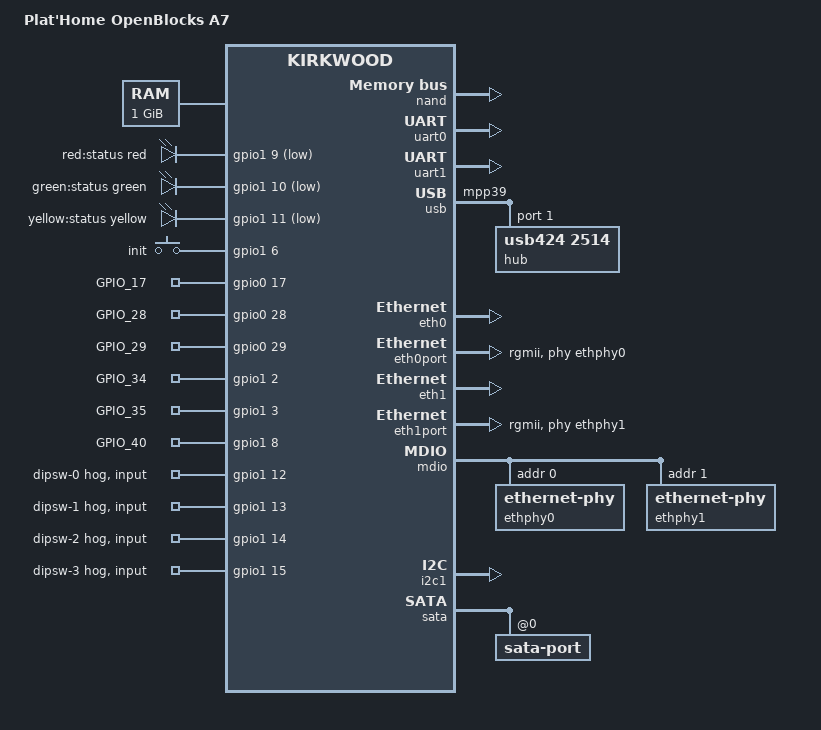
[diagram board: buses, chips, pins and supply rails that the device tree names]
// SPDX-License-Identifier: GPL-2.0-or-later OR MIT

/dts-v1/;

#include "kirkwood.dtsi"
#include "kirkwood-6282.dtsi"

#include <dt-bindings/leds/common.h>

/ {
	model = "Plat'Home OpenBlocks A7";
	compatible = "plathome,obsa7p", "marvell,kirkwood-88f6283", "marvell,kirkwood";

	memory@0 {
		device_type = "memory";
		reg = <0x00000000 0x40000000>;
	};

	aliases {
		serial0 = &uart0;
		led-boot = &led_status_green;
		led-failsafe = &led_status_yellow;
		led-running = &led_status_green;
		led-upgrade = &led_status_green;
	};

	chosen {
		bootargs = "console=ttyS0,115200n8 earlycon";
		stdout-path = "serial0:115200n8";
	};

	leds {
		compatible = "gpio-leds";
		pinctrl-0 = <&pmx_led_pins>;
		pinctrl-names = "default";

		led-0 {
			label = "red:status";
			gpios = <&gpio1 9 GPIO_ACTIVE_LOW>;
			color = <LED_COLOR_ID_RED>;
			function = LED_FUNCTION_STATUS;
		};

		led_status_green: led-1 {
			label = "green:status";
			gpios = <&gpio1 10 GPIO_ACTIVE_LOW>;
			color = <LED_COLOR_ID_GREEN>;
			function = LED_FUNCTION_STATUS;
		};

		led_status_yellow: led-2 {
			label = "yellow:status";
			gpios = <&gpio1 11 GPIO_ACTIVE_LOW>;
			color = <LED_COLOR_ID_YELLOW>;
			function = LED_FUNCTION_STATUS;
		};
	};

	keys {
		compatible = "gpio-keys";
		pinctrl-0 = <&pmx_btn_pins>;
		pinctrl-names = "default";

		init {
			label = "init";
			gpios = <&gpio1 6 GPIO_ACTIVE_HIGH>;
			linux,code = <KEY_RESTART>;
		};
	};

	gpio-export {
		compatible = "gpio-export";
		pinctrl-0 = <&pmx_gpio_header_pins>;
		pinctrl-names = "default";

		/*
		 * GPIO Header on PCB (J202)
		 *
		 * - Assignment
		 *
		 *    1: MPP17(GPIO_17, don't pull down)
		 *    2: NC
		 *    3: MPP29 (GPIO_29)
		 *    4: MPP28 (GPIO_28)
		 *    5: MPP35 (GPIO_35)
		 *    6: MPP34 (GPIO_34)
		 *    7: MPP40 (GPIO_40)
		 *    8: NC
		 *    9: RESET input
		 *   10: GND
		 *
		 * - Arrangement
		 *
		 *   | 9| 7| 5| 3| 1|  DC input -->
		 *   |10| 8| 6| 4| 2|
		 */

		gpio17 {
			gpio-export,name = "GPIO_17";
			gpio-export,output = <1>;
			gpios = <&gpio0 17 GPIO_ACTIVE_HIGH>;
		};

		gpio28 {
			gpio-export,name = "GPIO_28";
			gpio-export,output = <1>;
			gpios = <&gpio0 28 GPIO_ACTIVE_HIGH>;
		};

		gpio29 {
			gpio-export,name = "GPIO_29";
			gpio-export,output = <1>;
			gpios = <&gpio0 29 GPIO_ACTIVE_HIGH>;
		};

		gpio34 {
			gpio-export,name = "GPIO_34";
			gpio-export,output = <1>;
			gpios = <&gpio1 2 GPIO_ACTIVE_HIGH>;
		};

		gpio35 {
			gpio-export,name = "GPIO_35";
			gpio-export,output = <1>;
			gpios = <&gpio1 3 GPIO_ACTIVE_HIGH>;
		};

		gpio40 {
			gpio-export,name = "GPIO_40";
			gpio-export,output = <1>;
			gpios = <&gpio1 8 GPIO_ACTIVE_HIGH>;
		};
	};
};

&nand {
	status = "okay";

	partitions {
		compatible = "fixed-partitions";
		#address-cells = <1>;
		#size-cells = <1>;

		partition@0 {
			label = "u-boot";
			reg = <0x00 0x1c0000>;
		};

		partition@1c0000 {
			label = "u-boot-env";
			reg = <0x1c0000 0x2c0000>;
		};

		partition@480000 {
			label = "test";
			reg = <0x480000 0x160000>;
		};

		partition@5e0000 {
			label = "conf";
			reg = <0x5e0000 0x540000>;
		};

		partition@b20000 {
			label = "linux";
			reg = <0xb20000 0x3d40000>;
		};

		partition@4860000 {
			label = "user";
			reg = <0x4860000 0xb7a0000>;
		};
	};
};

&pinctrl {
	pmx_gpio_header_pins: gpio-header-pins {
		marvell,pins = "mpp17", "mpp28", "mpp29", "mpp34",
				   "mpp35", "mpp40";
		marvell,function = "gpio";
	};

	pmx_btn_pins: btn-pins {
		marvell,pins = "mpp38";
		marvell,function = "gpio";
	};

	pmx_usb_oc_pins: usb-oc-pins {
		marvell,pins = "mpp39";
		marvell,function = "gpio";
	};

	pmx_led_pins: led-pins {
		marvell,pins = "mpp41", "mpp42", "mpp43";
		marvell,function = "gpio";
	};

	pmx_dipsw_pins: dipsw-pins {
		marvell,pins = "mpp44", "mpp45", "mpp46", "mpp47";
		marvell,function = "gpio";
	};
};

&gpio1 {
	pinctrl-0 = <&pmx_dipsw_pins>;
	pinctrl-names = "default";

	dipsw-0 {
		gpio-hog;
		gpios = <12 GPIO_ACTIVE_HIGH>;
		input;
	};

	dipsw-1 {
		gpio-hog;
		gpios = <13 GPIO_ACTIVE_HIGH>;
		input;
	};

	dipsw-2 {
		gpio-hog;
		gpios = <14 GPIO_ACTIVE_HIGH>;
		input;
	};

	dipsw-3 {
		gpio-hog;
		gpios = <15 GPIO_ACTIVE_HIGH>;
		input;
	};
};

/* "CONSOLE" port */
&uart0 {
	status = "okay";
};

/* "RS-232C" port */
&uart1 {
	status = "okay";
};

&usb {
	pinctrl-0 = <&pmx_usb_oc_pins>;
	pinctrl-names = "default";
	#address-cells = <1>;
	#size-cells = <0>;

	hub@1 {
		compatible = "usb424,2514";
		reg = <1>;
	};
};

&eth0 {
	status = "okay";
};

&eth0port {
	phy-handle = <&ethphy0>;
	phy-connection-type = "rgmii";
};

&eth1 {
	status = "okay";
};

&eth1port {
	phy-handle = <&ethphy1>;
	phy-connection-type = "rgmii";
};

&mdio {
	status = "okay";

	ethphy0: ethernet-phy@0 {
		reg = <0>;
	};

	ethphy1: ethernet-phy@1 {
		reg = <1>;
	};
};

&i2c1 {
	status = "okay";
};

&sata {
	status = "okay";

	#address-cells = <1>;
	#size-cells = <0>;
	nr-ports = <1>;

	sata-port@0 {
		reg = <0>;
		#thermal-sensor-cells = <0>;
	};
};
